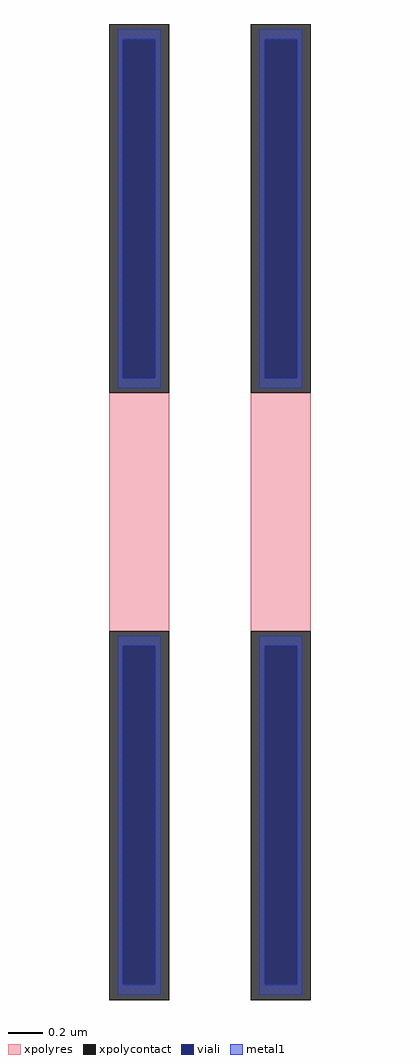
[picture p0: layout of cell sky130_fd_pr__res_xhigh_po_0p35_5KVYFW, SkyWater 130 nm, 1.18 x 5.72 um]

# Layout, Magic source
magic
tech sky130B
magscale 1 2
<< xpolycontact >>
rect -118 140 -48 572
rect -118 -572 -48 -140
rect 48 140 118 572
rect 48 -572 118 -140
<< xpolyres >>
rect -118 -140 -48 140
rect 48 -140 118 140
<< viali >>
rect -102 157 -64 554
rect 64 157 102 554
rect -102 -554 -64 -157
rect 64 -554 102 -157
<< metal1 >>
rect -108 554 -58 566
rect -108 157 -102 554
rect -64 157 -58 554
rect -108 145 -58 157
rect 58 554 108 566
rect 58 157 64 554
rect 102 157 108 554
rect 58 145 108 157
rect -108 -157 -58 -145
rect -108 -554 -102 -157
rect -64 -554 -58 -157
rect -108 -566 -58 -554
rect 58 -157 108 -145
rect 58 -554 64 -157
rect 102 -554 108 -157
rect 58 -566 108 -554
<< properties >>
string gencell sky130_fd_pr__res_xhigh_po_0p35
string library sky130
string parameters w 0.350 l 1.562 m 1 nx 2 wmin 0.350 lmin 0.50 class resistor rho 2000 val 10.001k dummy 0 dw 0.0 term 188.2 sterm 0.0 caplen 0 wmax 0.350 guard 0 glc 0 grc 0 gtc 0 gbc 0 compatible {sky130_fd_pr__res_xhigh_po_0p35  sky130_fd_pr__res_xhigh_po_0p69 sky130_fd_pr__res_xhigh_po_1p41  sky130_fd_pr__res_xhigh_po_2p85 sky130_fd_pr__res_xhigh_po_5p73} snake 0 full_metal 0 n_guard 0 hv_guard 0 vias 1 viagb 0 viagt 0 viagl 0 viagr 0
<< end >>
